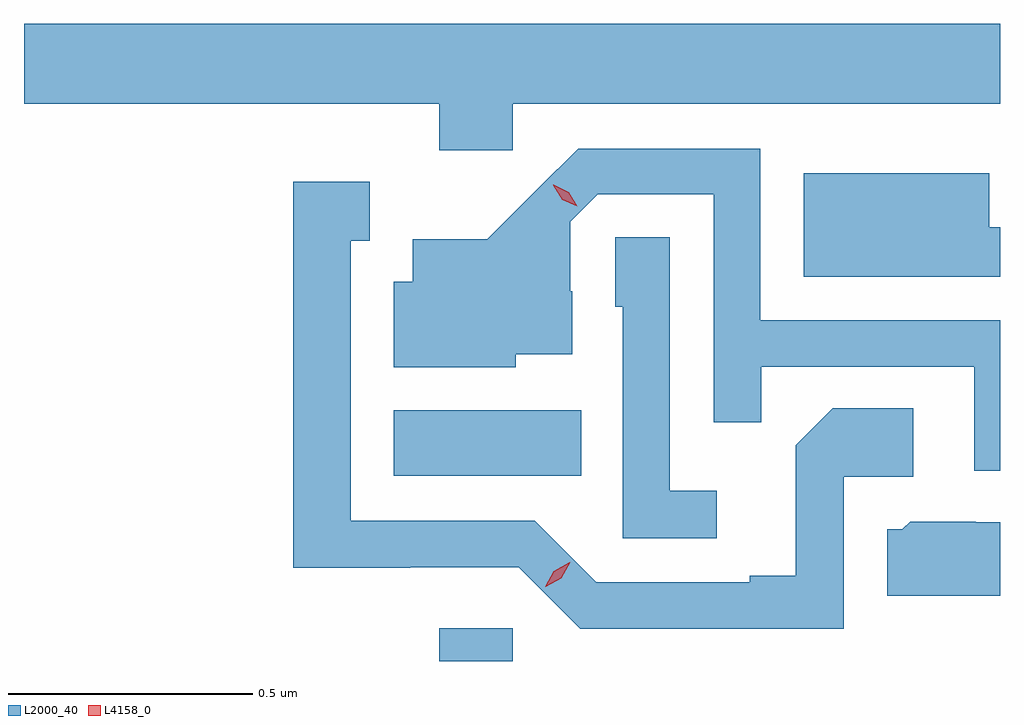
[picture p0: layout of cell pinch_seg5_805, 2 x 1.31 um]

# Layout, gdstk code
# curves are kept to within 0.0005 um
import gdstk
lib = gdstk.Library(unit=1e-6, precision=1e-09)
def R(c, l, rs):  # rectangles x0, y0, x1, y1
    for r in rs: c.add(gdstk.rectangle(r[:2], r[2:], *l))
def P(c, l, *ps):  # polygons
    for p in ps: c.add(gdstk.Polygon(p, *l))
L2000_40 = (2000, 40)
L4158_0 = (4158, 0)

pinch_seg5_805 = lib.new_cell('pinch_seg5_805')
R(pinch_seg5_805, L2000_40, [(760.841,902.238,760.992,902.305), (760.748,902.618,761.132,902.752)])
P(pinch_seg5_805, L2000_40, [(760.992,903.38),(761.99,903.38),(761.99,903.544),(759.99,903.544),(759.99,903.38),(760.841,903.38),(760.841,903.285),(760.992,903.285)],
  [(761.99,902.937),(761.499,902.937),(761.499,903.288),(761.126,903.288),(760.939,903.103),(760.787,903.103),(760.787,903.016),(760.748,903.016),(760.748,902.84),(760.998,902.84),(760.998,902.867),(761.113,902.867),(761.113,902.996),(761.109,902.996),(761.109,903.138),(761.166,903.195),(761.403,903.195),(761.403,902.728),(761.501,902.728),(761.501,902.841),(761.937,902.841),(761.937,902.628),(761.99,902.628)],
  [(761.99,903.127),(761.968,903.127),(761.968,903.238),(761.588,903.238),(761.588,903.026),(761.99,903.026)],
  [(761.67,902.616),(761.812,902.616),(761.812,902.756),(761.647,902.756),(761.571,902.68),(761.571,902.413),(761.477,902.413),(761.477,902.4),(761.163,902.4),(761.037,902.526),(760.66,902.526),(760.66,903.099),(760.699,903.099),(760.699,903.22),(760.542,903.22),(760.542,902.429),(760.782,902.429),(760.782,902.43),(761.004,902.43),(761.13,902.304),(761.67,902.304)],
  [(761.41,902.587),(761.313,902.587),(761.313,903.107),(761.202,903.107),(761.202,902.964),(761.217,902.964),(761.217,902.49),(761.41,902.49)],
  [(761.99,902.523),(761.94,902.523),(761.94,902.524),(761.806,902.524),(761.79,902.508),(761.759,902.508),(761.759,902.372),(761.99,902.372)])
P(pinch_seg5_805, L4158_0, [(761.124,903.17),(761.093,903.184),(761.075,903.213),(761.075,903.214),(761.076,903.214),(761.106,903.199),(761.124,903.17),(761.124,903.17)],
  [(761.058,902.39),(761.058,902.39),(761.076,902.422),(761.108,902.441),(761.109,902.441),(761.109,902.441),(761.091,902.408),(761.059,902.39)])

lib.write_gds('pinch_seg5_805.gds')
